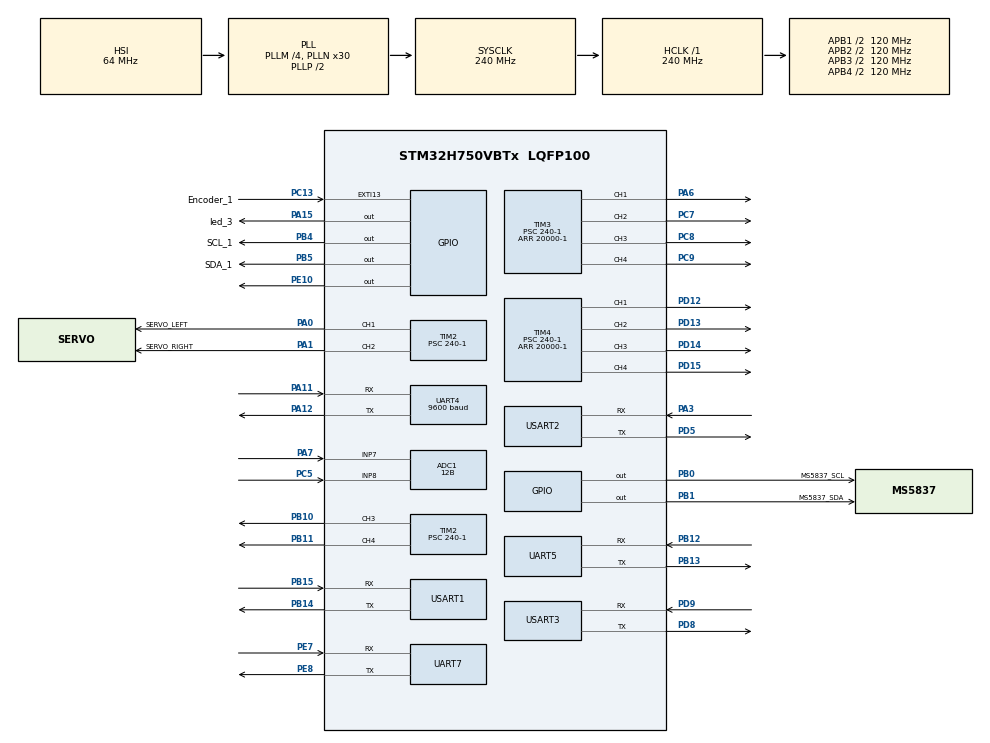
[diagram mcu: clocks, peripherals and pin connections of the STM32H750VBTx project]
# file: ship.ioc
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ADC1.Channel-1\#ChannelRegularConversion=ADC_CHANNEL_7
ADC1.Channel-3\#ChannelRegularConversion=ADC_CHANNEL_8
ADC1.ContinuousConvMode=ENABLE
ADC1.DiscontinuousConvMode=DISABLE
ADC1.NbrOfConversion=2
ADC1.NbrOfConversionFlag=1
ADC1.OffsetNumber-1\#ChannelRegularConversion=ADC_OFFSET_NONE
ADC1.OffsetNumber-3\#ChannelRegularConversion=ADC_OFFSET_NONE
ADC1.OffsetSignedSaturation-1\#ChannelRegularConversion=DISABLE
ADC1.OffsetSignedSaturation-3\#ChannelRegularConversion=DISABLE
ADC1.Rank-1\#ChannelRegularConversion=1
ADC1.Rank-3\#ChannelRegularConversion=2
ADC1.Resolution=ADC_RESOLUTION_12B
ADC1.SamplingTime-1\#ChannelRegularConversion=ADC_SAMPLETIME_1CYCLE_5
ADC1.SamplingTime-3\#ChannelRegularConversion=ADC_SAMPLETIME_1CYCLE_5
ADC1.master=1
Mcu.Family=STM32H7
Mcu.Name=STM32H750VBTx
Mcu.Package=LQFP100
NVIC.ADC_IRQn=true\:0\:0\:false\:false\:true\:false\:true\:true\:true
NVIC.PriorityGroup=NVIC_PRIORITYGROUP_4
NVIC.TIM6_DAC_IRQn=true\:4\:0\:true\:false\:true\:false\:true\:true\:true
NVIC.TIM7_IRQn=true\:15\:0\:false\:false\:true\:false\:false\:true\:true
NVIC.TimeBase=TIM7_IRQn
NVIC.TimeBaseIP=TIM7
NVIC.UART5_IRQn=true\:0\:0\:false\:false\:true\:false\:true\:true\:true
NVIC.USART1_IRQn=true\:0\:0\:true\:false\:true\:false\:true\:true\:true
PA0.GPIO_Label=SERVO_LEFT
PA0.Signal=S_TIM2_CH1_ETR
PA1.GPIO_Label=SERVO_RIGHT
PA1.Signal=S_TIM2_CH2
PA11.Mode=Asynchronous
PA11.Signal=UART4_RX
PA12.Mode=Asynchronous
PA12.Signal=UART4_TX
PA13\ (JTMS/SWDIO).Mode=Serial_Wire
PA13\ (JTMS/SWDIO).Signal=DEBUG_JTMS-SWDIO
PA14\ (JTCK/SWCLK).Mode=Serial_Wire
PA14\ (JTCK/SWCLK).Signal=DEBUG_JTCK-SWCLK
PA15\ (JTDI).GPIO_Label=led_3
PA15\ (JTDI).Signal=GPIO_Output
PA3.Mode=Asynchronous
PA3.Signal=USART2_RX
PA6.Signal=S_TIM3_CH1
PA7.Signal=ADCx_INP7
PB0.GPIO_Label=MS5837_SCL
PB0.PinState=GPIO_PIN_SET
PB0.Signal=GPIO_Output
PB1.GPIO_Label=MS5837_SDA
PB1.GPIO_Speed=GPIO_SPEED_FREQ_HIGH
PB1.PinState=GPIO_PIN_RESET
PB1.Signal=GPIO_Output
PB10.Signal=S_TIM2_CH3
PB11.Signal=S_TIM2_CH4
PB12.Mode=Asynchronous
PB12.Signal=UART5_RX
PB13.Mode=Asynchronous
PB13.Signal=UART5_TX
PB14.Mode=Asynchronous
PB14.Signal=USART1_TX
PB15.Mode=Asynchronous
PB15.Signal=USART1_RX
PB4\ (NJTRST).GPIO_Label=SCL_1
PB4\ (NJTRST).GPIO_ModeDefaultOutputPP=GPIO_MODE_OUTPUT_OD
PB4\ (NJTRST).GPIO_PuPd=GPIO_PULLUP
PB4\ (NJTRST).GPIO_Speed=GPIO_SPEED_FREQ_HIGH
PB4\ (NJTRST).PinState=GPIO_PIN_SET
PB4\ (NJTRST).Signal=GPIO_Output
PB5.GPIO_Label=SDA_1
PB5.GPIO_ModeDefaultOutputPP=GPIO_MODE_OUTPUT_OD
PB5.GPIO_PuPd=GPIO_PULLUP
PB5.GPIO_Speed=GPIO_SPEED_FREQ_HIGH
PB5.PinState=GPIO_PIN_SET
PB5.Signal=GPIO_Output
PC13.GPIO_Label=Encoder_1
PC13.Signal=GPXTI13
PC14-OSC32_IN\ (OSC32_IN).Mode=LSE-External-Oscillator
PC14-OSC32_IN\ (OSC32_IN).Signal=RCC_OSC32_IN
PC15-OSC32_OUT\ (OSC32_OUT).Mode=LSE-External-Oscillator
PC15-OSC32_OUT\ (OSC32_OUT).Signal=RCC_OSC32_OUT
PC5.Signal=ADCx_INP8
PC7.Signal=S_TIM3_CH2
PC8.Signal=S_TIM3_CH3
PC9.Signal=S_TIM3_CH4
PD12.Signal=S_TIM4_CH1
PD13.Signal=S_TIM4_CH2
PD14.Signal=S_TIM4_CH3
PD15.Signal=S_TIM4_CH4
PD5.Mode=Asynchronous
PD5.Signal=USART2_TX
PD8.Mode=Asynchronous
PD8.Signal=USART3_TX
PD9.Mode=Asynchronous
PD9.Signal=USART3_RX
PE10.Signal=GPIO_Output
PE7.Mode=Asynchronous
PE7.Signal=UART7_RX
PE8.Mode=Asynchronous
PE8.Signal=UART7_TX
PH0-OSC_IN\ (PH0).Mode=HSE-External-Oscillator
PH0-OSC_IN\ (PH0).Signal=RCC_OSC_IN
PH1-OSC_OUT\ (PH1).Mode=HSE-External-Oscillator
PH1-OSC_OUT\ (PH1).Signal=RCC_OSC_OUT
ProjectManager.HeapSize=0x200
ProjectManager.StackSize=0x400
ProjectManager.TargetToolchain=MDK-ARM V5.27
RCC.ADCCLockSelection=RCC_ADCCLKSOURCE_PLL3
RCC.ADCFreq_Value=75000000
RCC.APB1Freq_Value=120000000
RCC.APB2Freq_Value=120000000
RCC.APB3Freq_Value=120000000
RCC.APB4Freq_Value=120000000
RCC.CortexFreq_Value=240000000
RCC.D1PPRE=RCC_APB3_DIV2
RCC.D2PPRE1=RCC_APB1_DIV2
RCC.D2PPRE2=RCC_APB2_DIV2
RCC.D3PPRE=RCC_APB4_DIV2
RCC.DIVM1=4
RCC.DIVM2=20
RCC.DIVM3=4
RCC.DIVN1=30
RCC.DIVN2=10
RCC.DIVN3=9
RCC.DIVP2=1
RCC.DIVR1=4
RCC.HCLKFreq_Value=240000000
RCC.PLL2FRACN=0
RCC.PLL3FRACN=3072
RCC.PLLFRACN=0
RCC.PWR_Regulator_Voltage_Scale=PWR_REGULATOR_VOLTAGE_SCALE0
RCC.ProductRev=revV
RCC.SYSCLKFreq_VALUE=240000000
RCC.SYSCLKSource=RCC_SYSCLKSOURCE_PLLCLK
RCC.USBFreq_Value=240000000
RealThread.RT-Thread.3.1.5.RTOSJjkernel=true
RealThread.RT-Thread.3.1.5.RT_USING_DEVICE=1
RealThread.RT-Thread.3.1.5.RT_USING_MESSAGEQUEUE=1
RealThread.RT-Thread.3.1.5.RT_USING_MUTEX=1
SH.ADCx_INP7.0=ADC1_INP7,IN7-Single-Ended
SH.ADCx_INP8.0=ADC1_INP8,IN8-Single-Ended
SH.S_TIM2_CH1_ETR.0=TIM2_CH1,PWM Generation1 CH1
SH.S_TIM2_CH2.0=TIM2_CH2,PWM Generation2 CH2
SH.S_TIM2_CH3.0=TIM2_CH3,PWM Generation3 CH3
SH.S_TIM2_CH4.0=TIM2_CH4,PWM Generation4 CH4
SH.S_TIM3_CH1.0=TIM3_CH1,PWM Generation1 CH1
SH.S_TIM3_CH2.0=TIM3_CH2,PWM Generation2 CH2
SH.S_TIM3_CH3.0=TIM3_CH3,PWM Generation3 CH3
SH.S_TIM3_CH4.0=TIM3_CH4,PWM Generation4 CH4
SH.S_TIM4_CH1.0=TIM4_CH1,PWM Generation1 CH1
SH.S_TIM4_CH2.0=TIM4_CH2,PWM Generation2 CH2
SH.S_TIM4_CH3.0=TIM4_CH3,PWM Generation3 CH3
SH.S_TIM4_CH4.0=TIM4_CH4,PWM Generation4 CH4
TIM2.Channel-PWM\ Generation1\ CH1=TIM_CHANNEL_1
TIM2.Channel-PWM\ Generation2\ CH2=TIM_CHANNEL_2
TIM2.Channel-PWM\ Generation3\ CH3=TIM_CHANNEL_3
TIM2.Channel-PWM\ Generation4\ CH4=TIM_CHANNEL_4
TIM2.Period=20000-1
TIM2.Prescaler=240-1
TIM3.Channel-PWM\ Generation1\ CH1=TIM_CHANNEL_1
TIM3.Channel-PWM\ Generation2\ CH2=TIM_CHANNEL_2
TIM3.Channel-PWM\ Generation3\ CH3=TIM_CHANNEL_3
TIM3.Channel-PWM\ Generation4\ CH4=TIM_CHANNEL_4
TIM3.Period=20000-1
TIM3.Prescaler=240-1
TIM4.Channel-PWM\ Generation1\ CH1=TIM_CHANNEL_1
TIM4.Channel-PWM\ Generation2\ CH2=TIM_CHANNEL_2
TIM4.Channel-PWM\ Generation3\ CH3=TIM_CHANNEL_3
TIM4.Channel-PWM\ Generation4\ CH4=TIM_CHANNEL_4
TIM4.Period=20000-1
TIM4.Prescaler=240-1
TIM6.Period=10000-1
TIM6.Prescaler=12000-1
UART4.BaudRate=9600
USART1.VirtualMode-Asynchronous=VM_ASYNC
USART2.VirtualMode-Asynchronous=VM_ASYNC
USART3.VirtualMode-Asynchronous=VM_ASYNC
VP_RealThread.RT-Thread_VS_RTOSJjkernel_3.1.5_3.1.5.Mode=RTOSJjkernel
VP_SYS_VS_tim7.Mode=TIM7
VP_TIM2_VS_ClockSourceINT.Mode=Internal
VP_TIM3_VS_ClockSourceINT.Mode=Internal
VP_TIM4_VS_ClockSourceINT.Mode=Internal
VP_TIM6_VS_ClockSourceINT.Mode=Enable_Timer
VP_VREFBUF_V_VREFBUF.Mode=ExternalMode
board=custom

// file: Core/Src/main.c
/* USER CODE BEGIN Header */
/**
  ******************************************************************************
  * @file           : main.c
  * @brief          : Main program body
  ******************************************************************************
  * @attention
  *
  * Copyright (c) 2023 STMicroelectronics.
  * All rights reserved.
  *
  * This software is licensed under terms that can be found in the LICENSE file
  * in the root directory of this software component.
  * If no LICENSE file comes with this software, it is provided AS-IS.
  *
  ******************************************************************************
  */
/* USER CODE END Header */
#include "main.h"
#include "adc.h"
#include "tim.h"
#include "usart.h"
#include "gpio.h"

/* USER CODE BEGIN Includes */
#include "stdio.h"

#include "mpu6050.h"
#include "inv_mpu.h"
#include "inv_mpu_dmp_motion_driver.h"
/* USER CODE END Includes */

void SystemClock_Config(void);

/* USER CODE BEGIN 0 */
uint32_t encoder_count_1 = 0; //编码器计数值
uint32_t encoder_count_2 = 0; //编码器计数值
uint8_t  encoder_flag = 0; //编码器是否第一次工作的标志
MYPID PID_angle;
MYPID PID_speed;

extern uint8_t buff;

extern uint16_t IIC_SCL_PIN;
extern uint16_t IIC_SDA_PIN;
extern uint8_t rx_buf[100];//串口接收缓存区
extern uint8_t buf;
/* USER CODE END 0 */

int main(void)
{

  /* MCU Configuration--------------------------------------------------------*/

  /* Reset of all peripherals, Initializes the Flash interface and the Systick. */
  HAL_Init();

  /* Configure the system clock */
  SystemClock_Config();

  /* Initialize all configured peripherals */
  MX_GPIO_Init();
  MX_TIM2_Init();
  MX_USART1_UART_Init();
  MX_TIM6_Init();
  MX_TIM3_Init();
  MX_USART2_UART_Init();
  MX_UART5_Init();
  MX_ADC1_Init();
  MX_TIM4_Init();
  MX_UART7_Init();
  MX_UART4_Init();
  MX_USART3_UART_Init();
  /* USER CODE BEGIN 2 */
DT_TX_P_Init();
    HAL_TIM_PWM_Start(&htim2, TIM_CHANNEL_1);
    HAL_TIM_PWM_Start(&htim2, TIM_CHANNEL_2);
    HAL_TIM_PWM_Start(&htim2, TIM_CHANNEL_3);
    HAL_TIM_PWM_Start(&htim2, TIM_CHANNEL_4);

    HAL_TIM_PWM_Start(&htim3, TIM_CHANNEL_1);
    HAL_TIM_PWM_Start(&htim3, TIM_CHANNEL_2);
    HAL_TIM_PWM_Start(&htim3, TIM_CHANNEL_3);
    HAL_TIM_PWM_Start(&htim3, TIM_CHANNEL_4);

		HAL_TIM_PWM_Start(&htim4, TIM_CHANNEL_1);
    HAL_TIM_PWM_Start(&htim4, TIM_CHANNEL_2);
    HAL_TIM_PWM_Start(&htim4, TIM_CHANNEL_3);
    HAL_TIM_PWM_Start(&htim4, TIM_CHANNEL_4);

//***         代码调试区      ****/////////

//while(1)
//{
////
////////////	HAL_Delay(1000);
//	  __HAL_TIM_SET_COMPARE(&htim4, TIM_CHANNEL_1,500);
//
//		__HAL_TIM_SET_COMPARE(&htim4, TIM_CHANNEL_2,500);
//
//		__HAL_TIM_SET_COMPARE(&htim4, TIM_CHANNEL_3,500);
//
//			__HAL_TIM_SET_COMPARE(&htim4, TIM_CHANNEL_4,500);
//	HAL_Delay(1000);
//		  __HAL_TIM_SET_COMPARE(&htim4, TIM_CHANNEL_1,1500);
//
//		__HAL_TIM_SET_COMPARE(&htim4, TIM_CHANNEL_2,1500);
//
//		__HAL_TIM_SET_COMPARE(&htim4, TIM_CHANNEL_3,1500);
//
//			__HAL_TIM_SET_COMPARE(&htim4, TIM_CHANNEL_4,1500);
//		HAL_Delay(1000);
//			  __HAL_TIM_SET_COMPARE(&htim4, TIM_CHANNEL_1,1500);
//
//		__HAL_TIM_SET_COMPARE(&htim4, TIM_CHANNEL_2,2500);
//
//		__HAL_TIM_SET_COMPARE(&htim4, TIM_CHANNEL_3,2500);
//
//			__HAL_TIM_SET_COMPARE(&htim4, TIM_CHANNEL_4,2500);
//		HAL_Delay(1000);
//}
//	__HAL_TIM_SET_COMPARE(&htim4, TIM_CHANNEL_1,1350);
//	__HAL_TIM_SET_COMPARE(&htim4, TIM_CHANNEL_1,1400);
//	__HAL_TIM_SET_COMPARE(&htim4, TIM_CHANNEL_1,1450);
//	__HAL_TIM_SET_COMPARE(&htim4, TIM_CHANNEL_1,1500);
//	__HAL_TIM_SET_COMPARE(&htim4, TIM_CHANNEL_1,1550);
//	__HAL_TIM_SET_COMPARE(&htim4, TIM_CHANNEL_1,1600);
//	__HAL_TIM_SET_COMPARE(&htim4, TIM_CHANNEL_1,1650);
//	__HAL_TIM_SET_COMPARE(&htim4, TIM_CHANNEL_1,1700);
//	__HAL_TIM_SET_COMPARE(&htim4, TIM_CHANNEL_1,1750);
////
//		__HAL_TIM_SET_COMPARE(&htim4, TIM_CHANNEL_1,1500);
////	__HAL_TIM_SET_COMPARE(&htim4, TIM_CHANNEL_1,1950);
////	__HAL_TIM_SET_COMPARE(&htim4, TIM_CHANNEL_1,2000);
////	__HAL_TIM_SET_COMPARE(&htim4, TIM_CHANNEL_1,2100);
////		__HAL_TIM_SET_COMPARE(&htim4, TIM_CHANNEL_1,2200);
////	__HAL_TIM_SET_COMPARE(&htim4, TIM_CHANNEL_1,2300);
////	__HAL_TIM_SET_COMPARE(&htim4, TIM_CHANNEL_1,2400);

//
////////	__HAL_TIM_SET_COMPARE(&htim4, TIM_CHANNEL_2,1700);
////////	__HAL_TIM_SET_COMPARE(&htim4, TIM_CHANNEL_3,1500);
////////	__HAL_TIM_SET_COMPARE(&htim4, TIM_CHANNEL_4,1700);
////////	HAL_Delay(1000);
////  __HAL_TIM_SET_COMPARE(&htim4, TIM_CHANNEL_1,600);
////////	__HAL_TIM_SET_COMPARE(&htim4, TIM_CHANNEL_2,1500);
////////	__HAL_TIM_SET_COMPARE(&htim4, TIM_CHANNEL_3,700);
////////	__HAL_TIM_SET_COMPARE(&htim4, TIM_CHANNEL_4,1500);
//////
//	__HAL_TIM_SET_COMPARE(&htim4, TIM_CHANNEL_1,2400);
//////		HAL_Delay(1000);
//////	__HAL_TIM_SET_COMPARE(&htim4, TIM_CHANNEL_2,1700);
//////		HAL_Delay(1000);
//////	__HAL_TIM_SET_COMPARE(&htim4, TIM_CHANNEL_3,1500);
//////		HAL_Delay(1000);
//////	__HAL_TIM_SET_COMPARE(&htim4, TIM_CHANNEL_4,1700);
//////		HAL_Delay(1000);

//}
////
HAL_Delay(3000);
		__HAL_TIM_SET_COMPARE(&htim4, TIM_CHANNEL_1,1500);

		__HAL_TIM_SET_COMPARE(&htim4, TIM_CHANNEL_2,2500);

		__HAL_TIM_SET_COMPARE(&htim4, TIM_CHANNEL_3,1500);

		__HAL_TIM_SET_COMPARE(&htim4, TIM_CHANNEL_4,1500);
			HAL_Delay(1000);

/*****************************************************************************          线程相关             *************************************/

//printf("1");
ALIGN(RT_ALIGN_SIZE)/* 定义线程控栈时要求RT_ALIGN_SIZE个字节对齐 */

static rt_uint8_t rt_led1_thread_stack[1024];/* 定义线程栈 */

/* 定义线程控制块 */
static struct rt_thread led1_thread;
//线程1：led指示
rt_thread_init(&led1_thread,                  /* 线程控制块 */
            "led1",                       /* 线程名字 */
            led1_thread_entry,            /* 线程入口函数 */
            RT_NULL,                      /* 线程入口函数参数 */
            &rt_led1_thread_stack[0],     /* 线程栈起始地址 */
            sizeof(rt_led1_thread_stack), /* 线程栈大小 */
            3,                            /* 线程的优先级 */
            20);

 rt_thread_startup(&led1_thread);

//线程2：mpu6050
static rt_uint8_t rt_mpu6050_thread_stack[1024];/* 定义线程栈 */
static struct rt_thread mpu6050_thread;

rt_thread_init(&mpu6050_thread,                  /* 线程控制块 */
            "mpu6050",                       /* 线程名字 */
            mpu6050_thread_entry,            /* 线程入口函数 */
            RT_NULL,                      /* 线程入口函数参数 */
            &rt_mpu6050_thread_stack[0],     /* 线程栈起始地址 */
            sizeof(rt_mpu6050_thread_stack), /* 线程栈大小 */
            2,                            /* 线程的优先级 */
            20);

 rt_thread_startup(&mpu6050_thread);

//线程3：给上位机发数据
static rt_uint8_t rt_SendData_thread_stack[1024];/* 定义线程栈 */
static struct rt_thread SendData_thread;

rt_thread_init(&SendData_thread,                  /* 线程控制块 */
            "SendData",                       /* 线程名字 */
            SendData_thread_entry,            /* 线程入口函数 */
            RT_NULL,                      /* 线程入口函数参数 */
            &rt_SendData_thread_stack[0],     /* 线程栈起始地址 */
            sizeof(rt_SendData_thread_stack), /* 线程栈大小 */
            3,                            /* 线程的优先级 */
            20);

 rt_thread_startup(&SendData_thread);

//线程4：深度计
static rt_uint8_t rt_MS5837_thread_stack[1024];/* 定义线程栈 */
static struct rt_thread MS5837_thread;

rt_thread_init(&MS5837_thread,                  /* 线程控制块 */
            "MS5837",                       /* 线程名字 */
            MS5837_thread_entry,            /* 线程入口函数 */
            RT_NULL,                      /* 线程入口函数参数 */
            &rt_MS5837_thread_stack[0],     /* 线程栈起始地址 */
            sizeof(rt_MS5837_thread_stack), /* 线程栈大小 */
            3,                            /* 线程的优先级 */
            20);

// rt_thread_startup(&MS5837_thread);

//线程5:接收数据
static rt_uint8_t rt_data_receive_thread_stack[1024];/* 定义线程栈 */
static struct rt_thread data_receive_thread;

rt_thread_init(&data_receive_thread,                  /* 线程控制块 */
            "data_receive",                       /* 线程名字 */
            data_receive_thread_entry,            /* 线程入口函数 */
            RT_NULL,                      /* 线程入口函数参数 */
            &rt_data_receive_thread_stack[0],     /* 线程栈起始地址 */
            sizeof(rt_data_receive_thread_stack), /* 线程栈大小 */
            1,                            /* 线程的优先级 */
            5);

 rt_thread_startup(&data_receive_thread);

//线程6:水下超声波
static rt_uint8_t rt_Ultrasound_thread_stack[1024];/* 定义线程栈 */
static struct rt_thread Ultrasound_thread;

rt_thread_init(&Ultrasound_thread,                  /* 线程控制块 */
            "Ultrasound",                       /* 线程名字 */
            Ultrasound_thread_entry,            /* 线程入口函数 */
            RT_NULL,                      /* 线程入口函数参数 */
            &rt_Ultrasound_thread_stack[0],     /* 线程栈起始地址 */
            sizeof(rt_Ultrasound_thread_stack), /* 线程栈大小 */
            3,                            /* 线程的优先级 */
            20);

 rt_thread_startup(&Ultrasound_thread);

//线程7：ph计
static rt_uint8_t rt_PH_thread_stack[1024];/* 定义线程栈 */
static struct rt_thread PH_thread;

rt_thread_init(&PH_thread,                  /* 线程控制块 */
            "PH",                       /* 线程名字 */
            PH_thread_entry,            /* 线程入口函数 */
            RT_NULL,                      /* 线程入口函数参数 */
            &rt_PH_thread_stack[0],     /* 线程栈起始地址 */
            sizeof(rt_PH_thread_stack), /* 线程栈大小 */
            3,                            /* 线程的优先级 */
            20);

 rt_thread_startup(&PH_thread);

//线程8：水质传感器
static rt_uint8_t rt_water_quality_thread_stack[1024];/* 定义线程栈 */
static struct rt_thread water_quality_thread;

rt_thread_init(&water_quality_thread,                  /* 线程控制块 */
            "water_quality",                       /* 线程名字 */
            water_quality_thread_entry,            /* 线程入口函数 */
            RT_NULL,                      /* 线程入口函数参数 */
            &rt_water_quality_thread_stack[0],     /* 线程栈起始地址 */
            sizeof(rt_water_quality_thread_stack), /* 线程栈大小 */
            3,                            /* 线程的优先级 */
            20);

 rt_thread_startup(&water_quality_thread);

//线程9：运动控制
static rt_uint8_t rt_motion_control_thread_stack[1024];/* 定义线程栈 */
static struct rt_thread motion_control_thread;

rt_thread_init(&motion_control_thread,                  /* 线程控制块 */
            "motion_control",                       /* 线程名字 */
            motion_control_thread_entry,            /* 线程入口函数 */
            RT_NULL,                      /* 线程入口函数参数 */
            &rt_motion_control_thread_stack[0],     /* 线程栈起始地址 */
            sizeof(rt_motion_control_thread_stack), /* 线程栈大小 */
            2,                            /* 线程的优先级 */
            20);

 rt_thread_startup(&motion_control_thread);

/*************************************************************************************************************************************************/

  /* USER CODE END 2 */

  /* Infinite loop */
    while (1)
    {

    /* USER CODE BEGIN 3 */
//uint8_t b=1;
//printf("b=");
//HAL_UART_Transmit(&huart1,&b,sizeof(b),0xff);
//HAL_UART_Receive_IT(&huart1, rx_buf, 50);
  rt_thread_delay(500);   /* 延时500个tick */
//printf("1");

    }
  /* USER CODE END 3 */
}

void SystemClock_Config(void)
{
  RCC_OscInitTypeDef RCC_OscInitStruct = {0};
  RCC_ClkInitTypeDef RCC_ClkInitStruct = {0};

  /** Supply configuration update enable
  */
  HAL_PWREx_ConfigSupply(PWR_LDO_SUPPLY);

  /** Configure the main internal regulator output voltage
  */
  __HAL_PWR_VOLTAGESCALING_CONFIG(PWR_REGULATOR_VOLTAGE_SCALE1);

  while(!__HAL_PWR_GET_FLAG(PWR_FLAG_VOSRDY)) {}

  __HAL_RCC_SYSCFG_CLK_ENABLE();
  __HAL_PWR_VOLTAGESCALING_CONFIG(PWR_REGULATOR_VOLTAGE_SCALE0);

  while(!__HAL_PWR_GET_FLAG(PWR_FLAG_VOSRDY)) {}

  /** Initializes the RCC Oscillators according to the specified parameters
  * in the RCC_OscInitTypeDef structure.
  */
  RCC_OscInitStruct.OscillatorType = RCC_OSCILLATORTYPE_HSI;
  RCC_OscInitStruct.HSIState = RCC_HSI_DIV1;
  RCC_OscInitStruct.HSICalibrationValue = RCC_HSICALIBRATION_DEFAULT;
  RCC_OscInitStruct.PLL.PLLState = RCC_PLL_ON;
  RCC_OscInitStruct.PLL.PLLSource = RCC_PLLSOURCE_HSI;
  RCC_OscInitStruct.PLL.PLLM = 4;
  RCC_OscInitStruct.PLL.PLLN = 30;
  RCC_OscInitStruct.PLL.PLLP = 2;
  RCC_OscInitStruct.PLL.PLLQ = 2;
  RCC_OscInitStruct.PLL.PLLR = 4;
  RCC_OscInitStruct.PLL.PLLRGE = RCC_PLL1VCIRANGE_3;
  RCC_OscInitStruct.PLL.PLLVCOSEL = RCC_PLL1VCOWIDE;
  RCC_OscInitStruct.PLL.PLLFRACN = 0;
  if (HAL_RCC_OscConfig(&RCC_OscInitStruct) != HAL_OK)
  {
    Error_Handler();
  }

  /** Initializes the CPU, AHB and APB buses clocks
  */
  RCC_ClkInitStruct.ClockType = RCC_CLOCKTYPE_HCLK|RCC_CLOCKTYPE_SYSCLK
                              |RCC_CLOCKTYPE_PCLK1|RCC_CLOCKTYPE_PCLK2
                              |RCC_CLOCKTYPE_D3PCLK1|RCC_CLOCKTYPE_D1PCLK1;
  RCC_ClkInitStruct.SYSCLKSource = RCC_SYSCLKSOURCE_PLLCLK;
  RCC_ClkInitStruct.SYSCLKDivider = RCC_SYSCLK_DIV1;
  RCC_ClkInitStruct.AHBCLKDivider = RCC_HCLK_DIV1;
  RCC_ClkInitStruct.APB3CLKDivider = RCC_APB3_DIV2;
  RCC_ClkInitStruct.APB1CLKDivider = RCC_APB1_DIV2;
  RCC_ClkInitStruct.APB2CLKDivider = RCC_APB2_DIV2;
  RCC_ClkInitStruct.APB4CLKDivider = RCC_APB4_DIV2;

  if (HAL_RCC_ClockConfig(&RCC_ClkInitStruct, FLASH_LATENCY_4) != HAL_OK)
  {
    Error_Handler();
  }
}

void HAL_TIM_PeriodElapsedCallback(TIM_HandleTypeDef *htim)
{
  if (htim->Instance == TIM7) {
    HAL_IncTick();
  }
}

void Error_Handler(void)
{
    __disable_irq();
    while (1)
    {
    }
}
